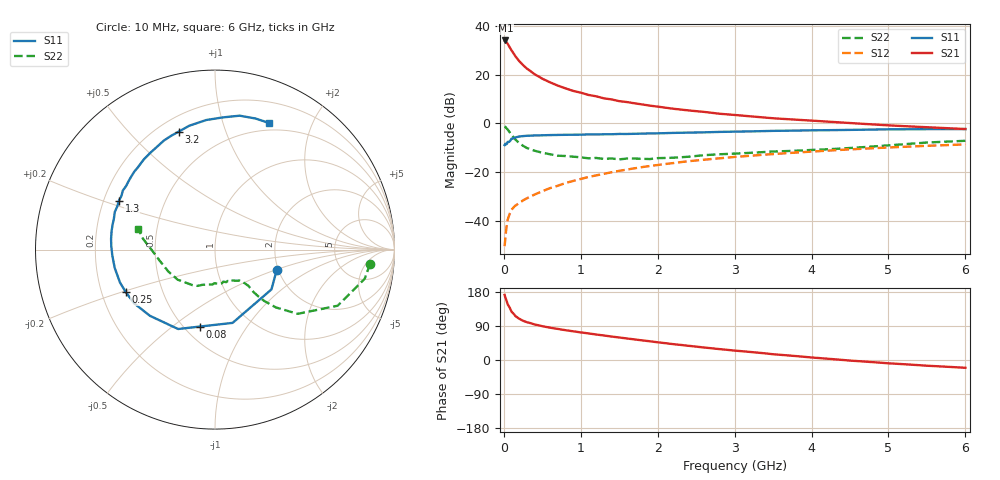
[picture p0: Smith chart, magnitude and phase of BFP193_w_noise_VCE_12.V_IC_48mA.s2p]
! Infineon Technologies  Discrete & RF Semiconductors
! BFP193
! VCE =  12. V,  IC =  48 mA
! Common Emitter S-Parameters:  Jan 2017
# GHz  S  MA  R  50
!  f  S11  S21  S12  S22
! GHz  MAG  ANG  MAG  ANG  MAG  ANG  MAG  ANG
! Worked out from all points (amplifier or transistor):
!   77 points, 10 MHz to 6 GHz, reference 50 ohm
!   highest |S21| = 33.9 dB at 20 MHz (marker M1)
!   |S21| within 3 dB of that: start of sweep to 79.95 MHz
!   unconditionally stable (mu >= 1): 619.2 MHz to 2.561 GHz
!   at 130 MHz: K = 0.55, MSG = 31.3 dB, |S12| = -34.2 dB
!   at 2.2 GHz: K = 1.03, MAG = 10.0 dB, |S12| = -16.2 dB
!   at 6 GHz: K = 0.89, MSG = 3.1 dB, |S12| = -8.6 dB
!   lowest NFmin = 1.49 dB at 450 MHz
!   S11 on the Smith chart (normalised r, x): 10 MHz: 1.96, -0.51; 80 MHz: 0.60, -0.63; 250 MHz: 0.30, -0.20; 1.3 GHz: 0.26, +0.22; 3.2 GHz: 0.28, +0.70; 6 GHz: 0.42, +1.43
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0.01  0.3621 -18.1  49.56 171.8  0.0031 41.9  0.8681 -5.2
0.02  0.3849 -35.2  49.67 164.9  0.0045 56.8  0.8498 -11.0
0.05  0.4199 -76.5  42.41 146.7  0.0108 60.3  0.7512 -24.6
0.08  0.4369 -101.1  35.15 136.5  0.0147 56.9  0.6465 -31.7
0.1  0.4878 -114.9  31.16 127.3  0.0173 55.5  0.5838 -37.8
0.15  0.5172 -134.5  23.64 116.0  0.0209 52.4  0.4687 -43.5
0.2  0.541 -146.4  18.82 108.9  0.0236 54.3  0.3969 -46.2
0.25  0.551 -154.8  15.57 103.5  0.0268 53.9  0.3493 -47.3
0.3  0.5603 -160.9  13.2 99.7  0.0295 55.3  0.3144 -47.8
0.4  0.5679 -169.6  10.11 93.7  0.0352 57.9  0.2767 -47.3
0.5  0.5728 -176.4  8.209 89.2  0.041 60.6  0.2513 -48.4
0.6  0.5781 178.2  6.927 85.3  0.0476 62.0  0.2345 -49.8
0.7  0.5821 174.1  5.945 82.1  0.0531 63.9  0.2189 -51.9
0.9  0.5875 166.0  4.631 75.8  0.0667 64.0  0.2094 -56.0
1.1  0.5965 159.3  3.823 70.2  0.0804 64.3  0.1937 -62.0
1.3  0.6007 153.0  3.263 64.7  0.0934 63.3  0.1884 -68.2
2.1  0.6334 130.8  2.101 44.4  0.1481 56.7  0.1969 -98.5
3.1  0.6835 109.0  1.445 23.1  0.2122 45.6  0.2458 -131.5
3.2  0.6878 107.1  1.4 21.3  0.2182 44.5  0.2505 -134.1
4.1  0.7255 92.4  1.117 5.1  0.2714 34.4  0.2912 -157.8
5.1  0.7589 78.3  0.897 -9.9  0.3275 22.8  0.366 177.7
6  0.7672 66.9  0.768 -20.6  0.3727 12.6  0.4421 164.9
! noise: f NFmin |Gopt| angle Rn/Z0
0.45  1.49  0.42  -171  0.08
0.9  1.54  0.44  -164  0.08
1.9  2.17  0.61  -132  0.22
2.4  2.5  0.64  -119  0.47
